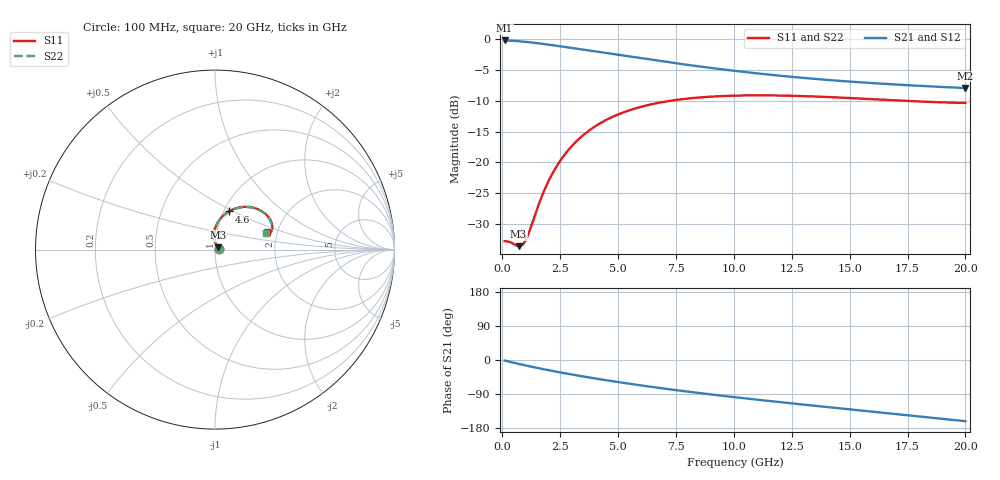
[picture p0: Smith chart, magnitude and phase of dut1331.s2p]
! Touchstone file exported from HFSS 2024.1.0
!  File:  C:/UserFiles/LocalFiles/RDL_TSV_Batchsim/temp_RDL_TSV_1331_1780389403.aedt
!  Generated:  04:50:50 PM Jun  2, 2026
!  Design:  RDL_TSV
!  Project:  temp_RDL_TSV_1331_1780389403
!  Setup:  Setup1
!  Solution:  Sweep
! Variables:
!  dtsv = 12.39um
!  hbump = 3um
!  htsv = 61.48um
!  ldown = 445.17um
!  lrdl = 201.69um
!  p = 40
!  p1 = 44.85um
!  rhole = 10um
!  subl = 2142.27um
!  t = 450um
!  tdown = 2.52um
!  trdl = 2.67um
!  viad = 10um
!  wdown = 11.11um
!  wrdl = 16.95um
!  xbump = 18um
# GHz S MA R 50.000000
! Terminal data exported
! Port[1] = TM1_1_T1
! Port[2] = TM1_4_T1
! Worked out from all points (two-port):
!   200 points, 100 MHz to 20 GHz, reference 50 ohm
!   highest |S21| = -0.20 dB at 100 MHz (marker M1); lowest = -7.9 dB at 20 GHz (marker M2)
!   |S21| within 3 dB of the highest: start of sweep to 6.199 GHz
!   lowest |S11| = -33.6 dB at 700 MHz (marker M3), VSWR 1.04, Z = 51.7 + j1.25 ohm
!   |S11| at or under -10 dB: start of sweep to 7.274 GHz; 17.31 GHz to end of sweep
!   |S22| runs from -33.6 to -9.2 dB; largest |S21 - S12| = 1.8e-14
!   S11 on the Smith chart (normalised r, x): 100 MHz: 1.05, +0.00; 4.6 GHz: 1.06, +0.47; 20 GHz: 1.76, +0.37
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0.1  0.02288 4.1  0.9767 -1.5  0.9767 -1.5  0.02288 4.1
! Gamma 0 0 0 0
! Port Impedance 50 0 50 0
0.3  0.02255 12.2  0.9742 -4.4  0.9742 -4.4  0.02255 12.2
0.7  0.02081 35.4  0.9635 -10.2  0.9635 -10.2  0.02083 35.3
0.9  0.02156 53.0  0.9562 -12.9  0.9562 -12.9  0.02157 52.9
1  0.02303 62.1  0.9522 -14.3  0.9522 -14.3  0.02304 62.0
1.2  0.02846 77.1  0.9434 -16.9  0.9434 -16.9  0.02844 77.0
1.6  0.04682 91.6  0.9239 -22.1  0.9239 -22.1  0.04674 91.5
1.8  0.05825 93.9  0.9135 -24.6  0.9135 -24.6  0.05813 93.7
2  0.0705 94.3  0.9029 -27.0  0.9029 -27.0  0.07035 94.2
2.3  0.08975 93.2  0.8868 -30.5  0.8868 -30.5  0.08954 93.1
2.9  0.1289 88.1  0.8544 -37.2  0.8544 -37.2  0.1286 88.0
3.5  0.1665 81.7  0.8226 -43.5  0.8226 -43.5  0.166 81.6
4  0.1953 76.3  0.7967 -48.6  0.7967 -48.6  0.1947 76.2
4.6  0.2263 70.1  0.7665 -54.4  0.7665 -54.4  0.2256 70.0
5.6  0.2687 60.6  0.7186 -63.6  0.7186 -63.6  0.2679 60.5
6.8  0.3054 51.0  0.6657 -73.9  0.6657 -73.9  0.3045 50.9
8.4  0.3348 40.5  0.6045 -86.4  0.6045 -86.4  0.3337 40.4
10.1  0.3481 32.0  0.5513 -98.6  0.5513 -98.6  0.3468 31.9
11.7  0.3492 25.9  0.5112 -109.3  0.5112 -109.3  0.3479 25.8
13.4  0.3428 21.2  0.4776 -120.2  0.4776 -120.2  0.3415 21.1
16.7  0.3204 17.0  0.4314 -140.8  0.4314 -140.8  0.3191 16.9
20  0.3032 18.4  0.4009 -161.5  0.4009 -161.5  0.3018 18.3
